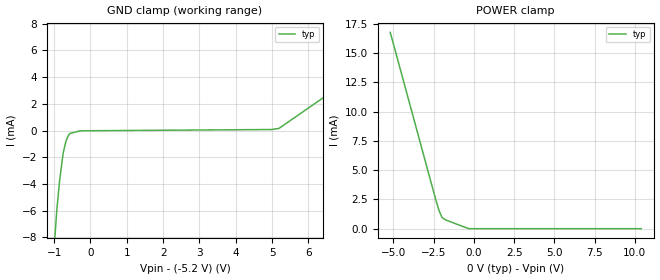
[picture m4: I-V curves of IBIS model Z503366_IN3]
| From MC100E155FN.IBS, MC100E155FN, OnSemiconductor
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| (C) COPYRIGHT 1993-2000
| MENTOR GRAPHICS CORPORATION
| ICX STANDARD LIBRARY, ICX PROJECT MODELING,
| ICX CUSTOM MODELING, ICX VENDOR MODEL
| ALL RIGHTS RESERVED.
| THE FOLLOWING ARE TRADEMARKS OR SERVICE MARKS OF
| MENTOR GRAPHICS CORPORATION:ICX (R), ICX STANDARD
| LIBRARY(R), ICX PROJECT MODELING(R), ICX CUSTOM
| MODELING(R), qualityIBIS(TM), MODELVIEWER(TM),
| AND MODELEDITOR(TM)
| ALL COPIES OF SOFTWARE, INCLUDING BUT NOT LIMITED TO
| ANY MODIFICATIONS, ENHANCEMENTS OR DERIVATIVE WORKS,
| MUST CONTAIN ALL MENTOR GRAPHICS CORPORATION'S
| NOTICES AND LEGENDS, INCLUDING THOSE EMBEDDED IN
| SOFTWARE AND THOSE AFFIXED TO SOFTWARE MEDIUM
| AND CONTAINER, AS RECEIVED FROM MENTOR GRAPHICS
| CORPORATION.
| Model Application Version 1.89 2/18/99.
[Model] Z503366_IN3
Model_type Input_ECL
Vinl = -1.475V
Vinh = -1.165V
C_comp 4.000pF NA NA
| variable typ   min   max
[Voltage Range] -5.200V NA NA
[GND Clamp Reference] -5.200V NA NA
[POWER Clamp Reference] 0.000V NA NA
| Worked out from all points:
|   GND clamp passes 1 mA (typ) near -0.69 V on its own axis
|   POWER clamp passes 1 mA (typ) near -2.00 V on its own axis
[GND Clamp]
-5.2V     -235.4mA   NA         NA
-1.084V   -12.09mA   NA         NA
-928mV    -5.974mA   NA         NA
-849mV    -3.721mA   NA         NA
-752mV    -1.692mA   NA         NA
-679mV    -825.3uA   NA         NA
-625mV    -456.1uA   NA         NA
-567mV    -220.5uA   NA         NA
-283.5mV  -20.78uA   NA         NA
4.991V    75.23uA    NA         NA
5.19V     159.8uA    NA         NA
10.4V     9.968mA    NA         NA
[POWER Clamp]
-5.2V     16.76mA    NA         NA
-2.373V   2.482mA    NA         NA
-2.168V   1.544mA    NA         NA
-1.977V   942.8uA    NA         NA
-1.763V   747.7uA    NA         NA
-652.3mV  166.9uA    NA         NA
-326.2mV  0A         NA         NA
10.4V     0A         NA         NA
